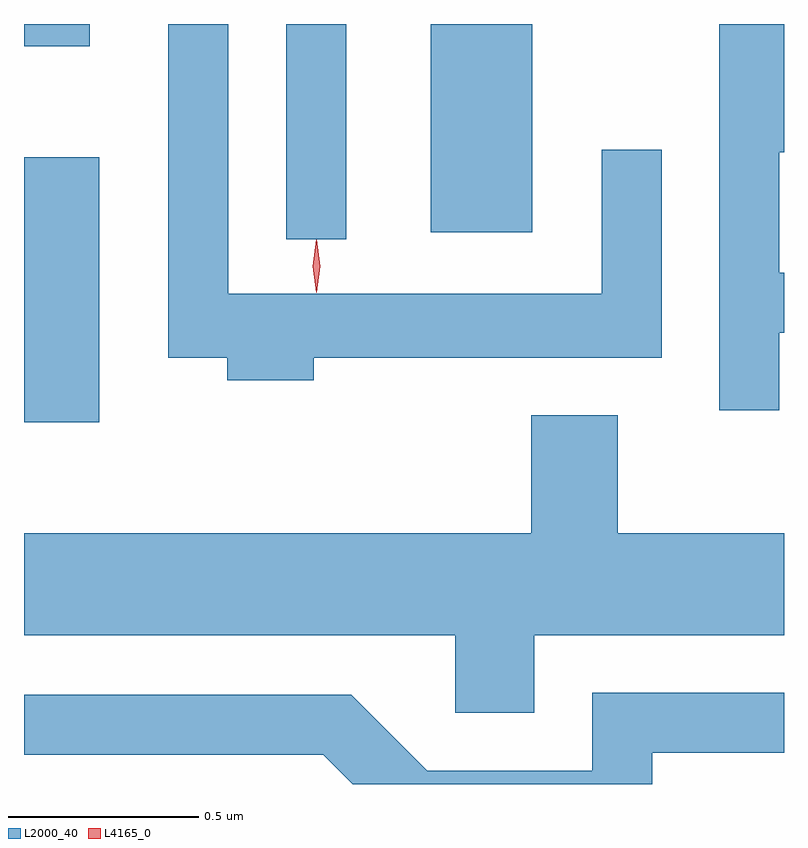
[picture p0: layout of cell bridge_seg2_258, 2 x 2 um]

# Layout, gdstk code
import gdstk
lib = gdstk.Library(unit=1e-6, precision=1e-09)
def R(c, l, rs):  # rectangles x0, y0, x1, y1
    for r in rs: c.add(gdstk.rectangle(r[:2], r[2:], *l))
def P(c, l, *ps):  # polygons
    for p in ps: c.add(gdstk.Polygon(p, *l))
L2000_40 = (2000, 40)
L4165_0 = (4165, 0)

bridge_seg2_258 = lib.new_cell('bridge_seg2_258')
R(bridge_seg2_258, L2000_40, [(489.466,1077.736,489.664,1078.434), (490.156,1078.218,490.314,1078.784), (490.536,1078.236,490.804,1078.784), (489.466,1078.726,489.639,1078.784)])
P(bridge_seg2_258, L2000_40, [(490.229,1077.906),(491.144,1077.906),(491.144,1078.453),(490.986,1078.453),(490.986,1078.074),(490.004,1078.074),(490.004,1078.784),(489.846,1078.784),(489.846,1077.906),(490.001,1077.906),(490.001,1077.846),(490.229,1077.846)],
  [(491.454,1077.971),(491.466,1077.971),(491.466,1078.129),(491.454,1078.129),(491.454,1078.446),(491.466,1078.446),(491.466,1078.784),(491.296,1078.784),(491.296,1077.768),(491.454,1077.768)],
  [(490.809,1077.176),(491.466,1077.176),(491.466,1077.444),(491.029,1077.444),(491.029,1077.754),(490.801,1077.754),(490.801,1077.444),(489.466,1077.444),(489.466,1077.176),(490.601,1077.176),(490.601,1076.971),(490.809,1076.971)],
  [(491.119,1076.866),(491.466,1076.866),(491.466,1077.024),(490.961,1077.024),(490.961,1076.819),(490.527,1076.819),(490.327,1077.019),(489.466,1077.019),(489.466,1076.861),(490.254,1076.861),(490.331,1076.784),(491.119,1076.784)])
P(bridge_seg2_258, L4165_0, [(490.235,1078.08),(490.226,1078.146),(490.235,1078.212),(490.236,1078.213),(490.236,1078.212),(490.246,1078.146),(490.236,1078.08),(490.236,1078.08)],
  [(490.236,1078.077),(490.235,1078.078),(490.226,1078.147),(490.235,1078.216),(490.236,1078.216),(490.236,1078.216),(490.246,1078.147),(490.236,1078.078)])

lib.write_gds('bridge_seg2_258.gds')
